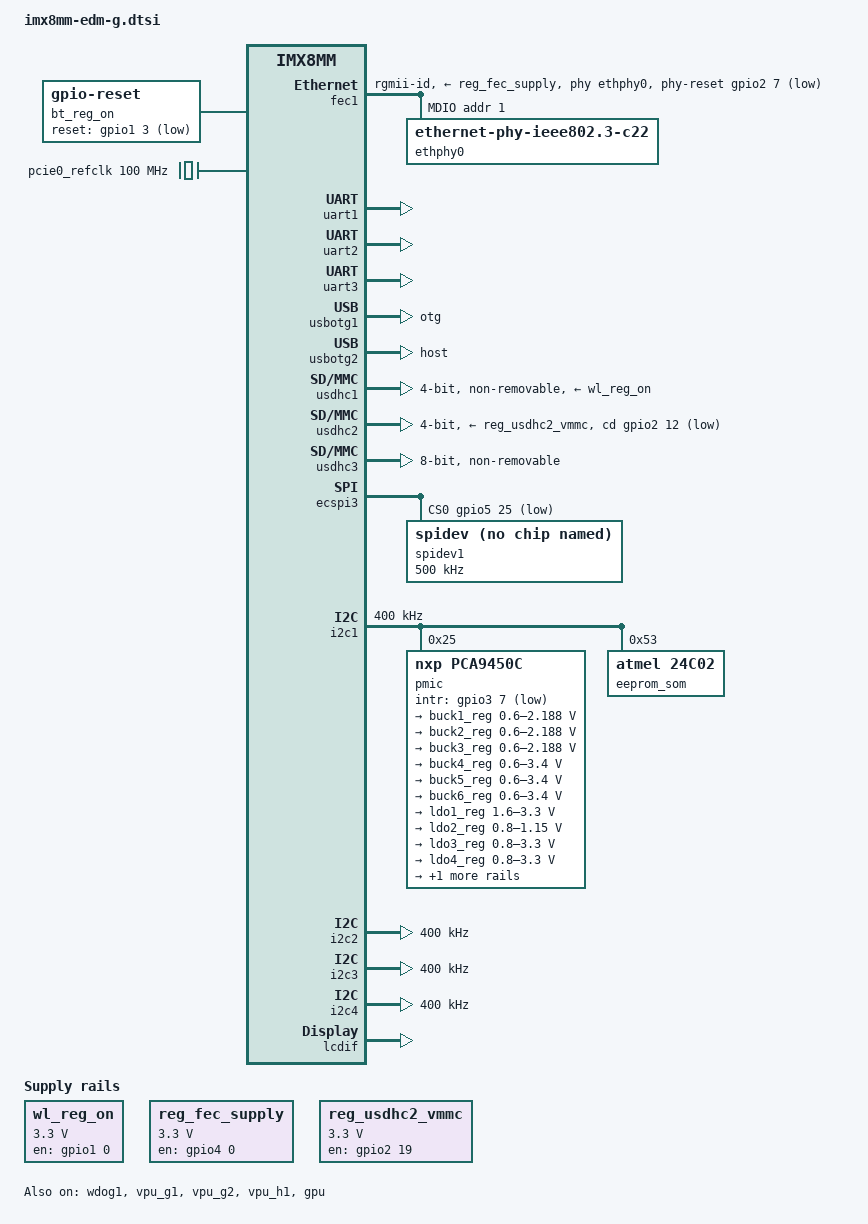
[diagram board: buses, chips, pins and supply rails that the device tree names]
// SPDX-License-Identifier: (GPL-2.0+ OR MIT)
/*
 * Copyright 2020 Technexion Ltd.
 *
 * Author: Richard Hu <richard.hu@technexion.com>
 *
 */

/dts-v1/;

#include <dt-bindings/usb/pd.h>
#include "imx8mm.dtsi"

/ {
	chosen {
		stdout-path = &uart2;
	};

	bt_reg_on: btreg_on {
		compatible = "gpio-reset";
		pinctrl-names = "default";
		pinctrl-0 = <&pinctrl_bt_ctrl>;
		reset-gpios = <&gpio1 3 GPIO_ACTIVE_LOW>;
		reset-delay-us = <2000>;
		reset-post-delay-ms = <40>;
		#reset-cells = <0>;
	};

	pcie0_refclk: pcie0-refclk {
		compatible = "fixed-clock";
		#clock-cells = <0>;
		clock-frequency = <100000000>;
	};

	regulators {
		compatible = "simple-bus";
		#address-cells = <1>;
		#size-cells = <0>;

		wl_reg_on: wlreg_on {
			compatible = "regulator-fixed";
			pinctrl-names = "default";
			pinctrl-0 = <&pinctrl_wifi_ctrl>;
			regulator-name = "WL_REG_ON";
			regulator-min-microvolt = <3300000>;
			regulator-max-microvolt = <3300000>;
			gpio = <&gpio1 0 GPIO_ACTIVE_HIGH>;
			off-on-delay = <20000>;
			startup-delay-us = <100>;
			enable-active-high;
		};

		reg_fec_supply: regulator_fecpwr {
			compatible = "regulator-fixed";
			pinctrl-names = "default";
			pinctrl-0 = <&pinctrl_fec_pwr_en>;
			regulator-name = "ENET_PWR_EN";
			regulator-min-microvolt = <3300000>;
			regulator-max-microvolt = <3300000>;
			gpio = <&gpio4 0 GPIO_ACTIVE_HIGH>;
			startup-delay-us = <10000>;
			enable-active-high;
		};

		reg_usdhc2_vmmc: regulator-usdhc2 {
			pinctrl-names = "default";
			pinctrl-0 = <&pinctrl_usdhc2_gpio>;
			compatible = "regulator-fixed";
			regulator-name = "SD_3V3";
			regulator-min-microvolt = <3300000>;
			regulator-max-microvolt = <3300000>;
			gpio = <&gpio2 19 GPIO_ACTIVE_HIGH>;
			off-on-delay = <20000>;
			enable-active-high;
		};
	};
};


&A53_0 {
	cpu-supply = <&buck2_reg>;
};

&fec1 {
	pinctrl-names = "default";
	pinctrl-0 = <&pinctrl_fec1>;
	phy-mode = "rgmii-id";
	phy-handle = <&ethphy0>;
	phy-reset-gpios = <&gpio2 7 GPIO_ACTIVE_LOW>;
	phy-supply = <&reg_fec_supply>;
	fsl,magic-packet;
	status = "okay";

	mdio {
		#address-cells = <1>;
		#size-cells = <0>;

		ethphy0: ethernet-phy@0 {
			compatible = "ethernet-phy-ieee802.3-c22";
			reg = <1>;
			at803x,led-act-blind-workaround;
			at803x,eee-disabled;
			rtl821x,aldps-disable;
			rtl821x,clkout-disable;
		};
	};
};

&pcie0{
	clocks = <&clk IMX8MM_CLK_PCIE1_ROOT>,
		 <&clk IMX8MM_CLK_PCIE1_AUX>,
		 <&clk IMX8MM_CLK_PCIE1_PHY>,
		 <&pcie0_refclk>;
	clock-names = "pcie", "pcie_aux", "pcie_phy", "pcie_bus";
	ext_osc = <0>;
	status = "disabled";
};

&sai2 { /* AUD_A */
	#sound-dai-cells = <0>;
	pinctrl-names = "default";
	pinctrl-0 = <&pinctrl_sai2>;
	assigned-clocks = <&clk IMX8MM_AUDIO_PLL1>, <&clk IMX8MM_AUDIO_PLL2>, <&clk IMX8MM_CLK_SAI1>;
    assigned-clock-parents = <0>, <0>, <&clk IMX8MM_AUDIO_PLL1_OUT>;
    assigned-clock-rates = <786432000>, <722534400>, <12288000>;
	status = "disabled";
};

&sai5 { /* AUD_B */
	#sound-dai-cells = <0>;
	pinctrl-names = "default";
	pinctrl-0 = <&pinctrl_sai5>;
	assigned-clocks = <&clk IMX8MM_AUDIO_PLL1>, <&clk IMX8MM_AUDIO_PLL2>, <&clk IMX8MM_CLK_SAI1>;
	assigned-clock-parents = <0>, <0>, <&clk IMX8MM_AUDIO_PLL1_OUT>;
	assigned-clock-rates = <786432000>, <722534400>, <12288000>;
	status = "disabled";
};

&sai1 {
	pinctrl-names = "default", "dsd";
	pinctrl-0 = <&pinctrl_sai1>;
	assigned-clocks = <&clk IMX8MM_CLK_SAI1>;
	assigned-clock-parents = <&clk IMX8MM_AUDIO_PLL1_OUT>;
	assigned-clock-rates = <49152000>;
	clocks = <&clk IMX8MM_CLK_SAI1_IPG>, <&clk IMX8MM_CLK_DUMMY>,
		<&clk IMX8MM_CLK_SAI1_ROOT>, <&clk IMX8MM_CLK_DUMMY>,
		<&clk IMX8MM_CLK_DUMMY>, <&clk IMX8MM_AUDIO_PLL1_OUT>,
		<&clk IMX8MM_AUDIO_PLL2_OUT>;
	clock-names = "bus", "mclk0", "mclk1", "mclk2", "mclk3", "pll8k", "pll11k";
	status = "disabled";
};

&uart1 { /* baseboard, UART_C */
	pinctrl-names = "default";
	pinctrl-0 = <&pinctrl_uart1>;
	assigned-clocks = <&clk IMX8MM_CLK_UART1>;
	assigned-clock-parents = <&clk IMX8MM_SYS_PLL1_80M>;
	fsl,uart-has-rtscts;
	status = "okay";
};

&uart2 { /* A53 console, UART_A */
	pinctrl-names = "default";
	pinctrl-0 = <&pinctrl_uart2>;
	assigned-clocks = <&clk IMX8MM_CLK_UART2>;
	assigned-clock-parents = <&clk IMX8MM_SYS_PLL1_80M>;
	fsl,uart-has-rtscts;
	status = "okay";
};

&uart3 { /* bluetooth */
	pinctrl-names = "default";
	pinctrl-0 = <&pinctrl_uart3>;
	assigned-clocks = <&clk IMX8MM_CLK_UART3>;
	assigned-clock-parents = <&clk IMX8MM_SYS_PLL1_80M>;
	fsl,uart-has-rtscts;
	resets = <&bt_reg_on>;
	status = "okay";
};

&uart4 { /* M4 console, UART_B */
	/* used in FreeRTOS, disabled in Linux */
	pinctrl-names = "default";
	pinctrl-0 = <&pinctrl_uart4>;
	assigned-clocks = <&clk IMX8MM_CLK_UART4>;
	assigned-clock-parents = <&clk IMX8MM_SYS_PLL1_80M>;
	fsl,uart-has-rtscts;
	status = "disabled";
};

&usbotg1 {
	dr_mode = "otg";
	hnp-disable;
	srp-disable;
	adp-disable;
	picophy,pre-emp-curr-control = <3>;
	picophy,dc-vol-level-adjust = <7>;
	status = "okay";
};

&usbotg2 {
	dr_mode = "host";
	picophy,pre-emp-curr-control = <3>;
	picophy,dc-vol-level-adjust = <7>;
	status = "okay";
};

/* WIFI SDIO */
&usdhc1 {
	pinctrl-names = "default", "state_100mhz", "state_200mhz";
	pinctrl-0 = <&pinctrl_usdhc1>;
	pinctrl-1 = <&pinctrl_usdhc1_100mhz>;
	pinctrl-2 = <&pinctrl_usdhc1_200mhz>;
	bus-width = <4>;
	max-frequency = <133333333>;
	vmmc-supply = <&wl_reg_on>;
	pm-ignore-notify;
	keep-power-in-suspend;
	non-removable;
	status = "okay";
};

/* SD card on baseboard */
&usdhc2 {
	pinctrl-names = "default", "state_100mhz", "state_200mhz";
	pinctrl-0 = <&pinctrl_usdhc2>;
	pinctrl-1 = <&pinctrl_usdhc2_100mhz>;
	pinctrl-2 = <&pinctrl_usdhc2_200mhz>;
	cd-gpios = <&gpio2 12 GPIO_ACTIVE_LOW>;
	vmmc-supply = <&reg_usdhc2_vmmc>;
	bus-width = <4>;
	status = "okay";
};

/* eMMC on SOM */
&usdhc3 {
	pinctrl-names = "default", "state_100mhz", "state_200mhz";
	pinctrl-0 = <&pinctrl_usdhc3>;
	pinctrl-1 = <&pinctrl_usdhc3_100mhz>;
	pinctrl-2 = <&pinctrl_usdhc3_200mhz>;
	bus-width = <8>;
	non-removable;
	status = "okay";
};

&wdog1 {
	pinctrl-names = "default";
	pinctrl-0 = <&pinctrl_wdog>;
	fsl,ext-reset-output;
	status = "okay";
};

&ecspi3 {
	num-cs = <1>;
	pinctrl-names = "default";
	pinctrl-0 = <&pinctrl_ecspi3 &pinctrl_ecspi3_cs>;
	cs-gpios = <&gpio5 25 GPIO_ACTIVE_LOW>;
	status = "okay";

	spidev1: spi@0 {
		reg = <0>;
		compatible = "rohm,dh2228fv";
		spi-max-frequency = <500000>;
	};
};

&i2c1 { /* BRD_CONF I2C */
	clock-frequency = <400000>;
	pinctrl-names = "default";
	pinctrl-0 = <&pinctrl_i2c1>;
	status = "okay";

	pmic: pca9450@25 {
		reg = <0x25>;
		compatible = "nxp,pca9450c";
		/* PMIC PCA9450 PMIC_nINT */
		pinctrl-0 = <&pinctrl_pmic>;
		gpio_intr = <&gpio3 7 GPIO_ACTIVE_LOW>;

		regulators {
			#address-cells = <1>;
			#size-cells = <0>;

			pca9450,pmic-buck1-uses-i2c-dvs;
			/* Run/Standby voltage */
			pca9450,pmic-buck1-dvs-voltage = <850000>, <800000>;

			buck1_reg: regulator@0 {
				reg = <0>;
				regulator-compatible = "buck1";
				regulator-min-microvolt = <600000>;
				regulator-max-microvolt = <2187500>;
				regulator-boot-on;
				regulator-always-on;
				regulator-ramp-delay = <3125>;
			};

			buck2_reg: regulator@1 {
				reg = <1>;
				regulator-compatible = "buck2";
				regulator-min-microvolt = <600000>;
				regulator-max-microvolt = <2187500>;
				regulator-boot-on;
				regulator-always-on;
				regulator-ramp-delay = <3125>;
			};

			buck3_reg: regulator@2 {
				reg = <2>;
				regulator-compatible = "buck3";
				regulator-min-microvolt = <600000>;
				regulator-max-microvolt = <2187500>;
				regulator-boot-on;
				regulator-always-on;
			};

			buck4_reg: regulator@3 {
				reg = <3>;
				regulator-compatible = "buck4";
				regulator-min-microvolt = <600000>;
				regulator-max-microvolt = <3400000>;
				regulator-boot-on;
				regulator-always-on;
			};

			buck5_reg: regulator@4 {
				reg = <4>;
				regulator-compatible = "buck5";
				regulator-min-microvolt = <600000>;
				regulator-max-microvolt = <3400000>;
				regulator-boot-on;
				regulator-always-on;
			};

			buck6_reg: regulator@5 {
				reg = <5>;
				regulator-compatible = "buck6";
				regulator-min-microvolt = <600000>;
				regulator-max-microvolt = <3400000>;
				regulator-boot-on;
				regulator-always-on;
			};

			ldo1_reg: regulator@6 {
				reg = <6>;
				regulator-compatible = "ldo1";
				regulator-min-microvolt = <1600000>;
				regulator-max-microvolt = <3300000>;
				regulator-boot-on;
				regulator-always-on;
			};

			ldo2_reg: regulator@7 {
				reg = <7>;
				regulator-compatible = "ldo2";
				regulator-min-microvolt = <800000>;
				regulator-max-microvolt = <1150000>;
				regulator-boot-on;
				regulator-always-on;
			};

			ldo3_reg: regulator@8 {
				reg = <8>;
				regulator-compatible = "ldo3";
				regulator-min-microvolt = <800000>;
				regulator-max-microvolt = <3300000>;
				regulator-boot-on;
				regulator-always-on;
			};

			ldo4_reg: regulator@9 {
				reg = <9>;
				regulator-compatible = "ldo4";
				regulator-min-microvolt = <800000>;
				regulator-max-microvolt = <3300000>;
				regulator-boot-on;
				regulator-always-on;
			};

			ldo5_reg: regulator@10 {
				reg = <10>;
				regulator-compatible = "ldo5";
				regulator-min-microvolt = <1800000>;
				regulator-max-microvolt = <3300000>;
			};
		};
	};

	dsi_lvds_bridge: sn65dsi84@2d {
		reg = <0x2d>;
		compatible = "ti,sn65dsi84";
		#gpio-cells = <2>;
		pinctrl-0 = <&pinctrl_mipi_dsi_en>;
		enable-gpios = <&gpio3 9 GPIO_ACTIVE_HIGH>;
		status = "disabled";
	};

	eeprom_som: eeprom@53 {
		compatible = "atmel,24c02";
		reg = <0x53>;
		pagesize = <16>;
		status = "okay";
	};
};

&i2c2 { /* I2C_B */
	clock-frequency = <400000>;
	pinctrl-names = "default";
	pinctrl-0 = <&pinctrl_i2c2>;
	status = "okay";
};

&i2c3 { /* I2C_C */
	clock-frequency = <400000>;
	pinctrl-names = "default";
	pinctrl-0 = <&pinctrl_i2c3>;
	status = "okay";
};

&i2c4 { /* I2C_A */
	clock-frequency = <400000>;
	pinctrl-names = "default";
	pinctrl-0 = <&pinctrl_i2c4>;
	status = "okay";
};

&iomuxc {
	pinctrl-names = "default";

	pinctrl_fec_pwr_en: fec_pwr_en_irqgrp {
		fsl,pins = <
			MX8MM_IOMUXC_SAI1_RXFS_GPIO4_IO0	0x19
		>;
	};

	pinctrl_fec1: fec1grp {
		fsl,pins = <
			MX8MM_IOMUXC_ENET_MDC_ENET1_MDC			0x3
			MX8MM_IOMUXC_ENET_MDIO_ENET1_MDIO		0x3
			MX8MM_IOMUXC_ENET_TD3_ENET1_RGMII_TD3		0x1f
			MX8MM_IOMUXC_ENET_TD2_ENET1_RGMII_TD2		0x1f
			MX8MM_IOMUXC_ENET_TD1_ENET1_RGMII_TD1		0x1f
			MX8MM_IOMUXC_ENET_TD0_ENET1_RGMII_TD0		0x1f
			MX8MM_IOMUXC_ENET_RD3_ENET1_RGMII_RD3		0x91
			MX8MM_IOMUXC_ENET_RD2_ENET1_RGMII_RD2		0x91
			MX8MM_IOMUXC_ENET_RD1_ENET1_RGMII_RD1		0x91
			MX8MM_IOMUXC_ENET_RD0_ENET1_RGMII_RD0		0x91
			MX8MM_IOMUXC_ENET_TXC_ENET1_RGMII_TXC		0x1f
			MX8MM_IOMUXC_ENET_RXC_ENET1_RGMII_RXC		0x91
			MX8MM_IOMUXC_ENET_RX_CTL_ENET1_RGMII_RX_CTL	0x91
			MX8MM_IOMUXC_ENET_TX_CTL_ENET1_RGMII_TX_CTL	0x1f
			MX8MM_IOMUXC_SD1_DATA5_GPIO2_IO7	0x36	/* ENET_nRST */
		>;
	};

	pinctrl_i2c1: i2c1grp {
		fsl,pins = <
			MX8MM_IOMUXC_I2C1_SCL_I2C1_SCL			0x400001c3
			MX8MM_IOMUXC_I2C1_SDA_I2C1_SDA			0x400001c3
		>;
	};

	pinctrl_i2c2: i2c2grp {
		fsl,pins = <
			MX8MM_IOMUXC_I2C2_SCL_I2C2_SCL			0x400001c3
			MX8MM_IOMUXC_I2C2_SDA_I2C2_SDA			0x400001c3
		>;
	};

	pinctrl_i2c3: i2c3grp {
		fsl,pins = <
			MX8MM_IOMUXC_I2C3_SCL_I2C3_SCL			0x400001c3
			MX8MM_IOMUXC_I2C3_SDA_I2C3_SDA			0x400001c3
		>;
	};

	pinctrl_i2c4: i2c4grp {
		fsl,pins = <
			MX8MM_IOMUXC_I2C4_SCL_I2C4_SCL			0x400001c3
			MX8MM_IOMUXC_I2C4_SDA_I2C4_SDA			0x400001c3
		>;
	};

	pinctrl_pmic: pmicirq {
		fsl,pins = <
			MX8MM_IOMUXC_NAND_DATA01_GPIO3_IO7		0x41
		>;
	};

	pinctrl_sai2: sai2grp {
		fsl,pins = <
			MX8MM_IOMUXC_SAI2_TXFS_SAI2_TX_SYNC	0xd6
			MX8MM_IOMUXC_SAI2_TXC_SAI2_TX_BCLK	0xd6
			MX8MM_IOMUXC_SAI2_MCLK_SAI2_MCLK	0xd6
			MX8MM_IOMUXC_SAI2_TXD0_SAI2_TX_DATA0	0xd6
			MX8MM_IOMUXC_SAI2_RXD0_SAI2_RX_DATA0	0xd6
		>;
	};

	/* Bluetooth audio */
	pinctrl_sai1: sai1grp {
		fsl,pins = <
			MX8MM_IOMUXC_SAI1_TXFS_SAI1_TX_SYNC	0xd6
			MX8MM_IOMUXC_SAI1_TXC_SAI1_TX_BCLK	0xd6
			MX8MM_IOMUXC_SAI1_TXD0_SAI1_TX_DATA0	0xd6
			MX8MM_IOMUXC_SAI1_RXD0_SAI5_RX_DATA0    0xd6
		>;
	};

	pinctrl_sai5: sai5grp {
		fsl,pins = <
			MX8MM_IOMUXC_SAI5_RXD1_SAI5_TX_SYNC     0xd6
			MX8MM_IOMUXC_SAI5_RXD2_SAI5_TX_BCLK     0xd6
			MX8MM_IOMUXC_SAI5_RXD3_SAI5_TX_DATA0    0xd6
			MX8MM_IOMUXC_SAI5_RXD0_SAI5_RX_DATA0    0xd6
		>;
	};

	pinctrl_uart1: uart1grp {
		fsl,pins = <
			MX8MM_IOMUXC_SAI2_RXC_UART1_DCE_RX	0x140
			MX8MM_IOMUXC_SAI2_RXFS_UART1_DCE_TX	0x140
			MX8MM_IOMUXC_UART3_RXD_UART1_DCE_CTS_B	0x140
			MX8MM_IOMUXC_UART3_TXD_UART1_DCE_RTS_B	0x140
		>;
	};

	pinctrl_uart2: uart2grp {
		fsl,pins = <
			MX8MM_IOMUXC_SAI3_TXFS_UART2_DCE_RX	0x140
			MX8MM_IOMUXC_SAI3_TXC_UART2_DCE_TX	0x140
			MX8MM_IOMUXC_SAI3_RXC_UART2_DCE_CTS_B 0x140
			MX8MM_IOMUXC_SAI3_RXD_UART2_DCE_RTS_B 0x140
		>;
	};

	pinctrl_uart3: uart3grp {
		fsl,pins = <
			MX8MM_IOMUXC_ECSPI1_SCLK_UART3_DCE_RX		0x140
			MX8MM_IOMUXC_ECSPI1_MOSI_UART3_DCE_TX		0x140
			MX8MM_IOMUXC_ECSPI1_SS0_UART3_DCE_RTS_B		0x140
			MX8MM_IOMUXC_ECSPI1_MISO_UART3_DCE_CTS_B	0x140
		>;
	};

	pinctrl_uart4: uart4grp {
		fsl,pins = <
			MX8MM_IOMUXC_ECSPI2_SCLK_UART4_DCE_RX		0x140
			MX8MM_IOMUXC_ECSPI2_MOSI_UART4_DCE_TX		0x140
			MX8MM_IOMUXC_ECSPI2_MISO_UART4_DCE_CTS_B	0x140
			MX8MM_IOMUXC_ECSPI2_SS0_UART4_DCE_RTS_B		0x140
		>;
	};

	pinctrl_usdhc1: usdhc1grp {
		fsl,pins = <
			MX8MM_IOMUXC_SD1_CLK_USDHC1_CLK		0x190
			MX8MM_IOMUXC_SD1_CMD_USDHC1_CMD		0x1d0
			MX8MM_IOMUXC_SD1_DATA0_USDHC1_DATA0	0x1d0
			MX8MM_IOMUXC_SD1_DATA1_USDHC1_DATA1	0x1d0
			MX8MM_IOMUXC_SD1_DATA2_USDHC1_DATA2	0x1d0
			MX8MM_IOMUXC_SD1_DATA3_USDHC1_DATA3	0x1d0
		>;
	};

	pinctrl_usdhc1_100mhz: usdhc1grp100mhz {
		fsl,pins = <
			MX8MM_IOMUXC_SD1_CLK_USDHC1_CLK		0x194
			MX8MM_IOMUXC_SD1_CMD_USDHC1_CMD		0x1d4
			MX8MM_IOMUXC_SD1_DATA0_USDHC1_DATA0	0x1d4
			MX8MM_IOMUXC_SD1_DATA1_USDHC1_DATA1	0x1d4
			MX8MM_IOMUXC_SD1_DATA2_USDHC1_DATA2	0x1d4
			MX8MM_IOMUXC_SD1_DATA3_USDHC1_DATA3	0x1d4
		>;
	};

	pinctrl_usdhc1_200mhz: usdhc1grp200mhz {
		fsl,pins = <
			MX8MM_IOMUXC_SD1_CLK_USDHC1_CLK		0x196
			MX8MM_IOMUXC_SD1_CMD_USDHC1_CMD		0x1d6
			MX8MM_IOMUXC_SD1_DATA0_USDHC1_DATA0	0x1d6
			MX8MM_IOMUXC_SD1_DATA1_USDHC1_DATA1	0x1d6
			MX8MM_IOMUXC_SD1_DATA2_USDHC1_DATA2	0x1d6
			MX8MM_IOMUXC_SD1_DATA3_USDHC1_DATA3	0x1d6
		>;
	};

	pinctrl_usdhc2_gpio: usdhc2grpgpio {
		fsl,pins = <
			MX8MM_IOMUXC_SD2_RESET_B_GPIO2_IO19	0x41
		>;
	};

	pinctrl_usdhc2: usdhc2grp {
		fsl,pins = <
			MX8MM_IOMUXC_SD2_CLK_USDHC2_CLK		0x190
			MX8MM_IOMUXC_SD2_CMD_USDHC2_CMD		0x1d0
			MX8MM_IOMUXC_SD2_DATA0_USDHC2_DATA0	0x1d0
			MX8MM_IOMUXC_SD2_DATA1_USDHC2_DATA1	0x1d0
			MX8MM_IOMUXC_SD2_DATA2_USDHC2_DATA2	0x1d0
			MX8MM_IOMUXC_SD2_DATA3_USDHC2_DATA3	0x1d0
			MX8MM_IOMUXC_SD2_CD_B_GPIO2_IO12	0x1c4
			MX8MM_IOMUXC_GPIO1_IO04_USDHC2_VSELECT	0x1d0
		>;
	};

	pinctrl_usdhc2_100mhz: usdhc2grp100mhz {
		fsl,pins = <
			MX8MM_IOMUXC_SD2_CLK_USDHC2_CLK		0x194
			MX8MM_IOMUXC_SD2_CMD_USDHC2_CMD		0x1d4
			MX8MM_IOMUXC_SD2_DATA0_USDHC2_DATA0	0x1d4
			MX8MM_IOMUXC_SD2_DATA1_USDHC2_DATA1	0x1d4
			MX8MM_IOMUXC_SD2_DATA2_USDHC2_DATA2	0x1d4
			MX8MM_IOMUXC_SD2_DATA3_USDHC2_DATA3	0x1d4
			MX8MM_IOMUXC_SD2_CD_B_GPIO2_IO12	0x1c4
			MX8MM_IOMUXC_GPIO1_IO04_USDHC2_VSELECT	0x1d0
		>;
	};

	pinctrl_usdhc2_200mhz: usdhc2grp200mhz {
		fsl,pins = <
			MX8MM_IOMUXC_SD2_CLK_USDHC2_CLK		0x196
			MX8MM_IOMUXC_SD2_CMD_USDHC2_CMD		0x1d6
			MX8MM_IOMUXC_SD2_DATA0_USDHC2_DATA0	0x1d6
			MX8MM_IOMUXC_SD2_DATA1_USDHC2_DATA1	0x1d6
			MX8MM_IOMUXC_SD2_DATA2_USDHC2_DATA2	0x1d6
			MX8MM_IOMUXC_SD2_DATA3_USDHC2_DATA3	0x1d6
			MX8MM_IOMUXC_SD2_CD_B_GPIO2_IO12	0x1c4
			MX8MM_IOMUXC_GPIO1_IO04_USDHC2_VSELECT	0x1d0
		>;
	};

	pinctrl_usdhc3: usdhc3grp {
		fsl,pins = <
			MX8MM_IOMUXC_NAND_WE_B_USDHC3_CLK		0x190
			MX8MM_IOMUXC_NAND_WP_B_USDHC3_CMD		0x1d0
			MX8MM_IOMUXC_NAND_DATA04_USDHC3_DATA0		0x1d0
			MX8MM_IOMUXC_NAND_DATA05_USDHC3_DATA1		0x1d0
			MX8MM_IOMUXC_NAND_DATA06_USDHC3_DATA2		0x1d0
			MX8MM_IOMUXC_NAND_DATA07_USDHC3_DATA3		0x1d0
			MX8MM_IOMUXC_NAND_RE_B_USDHC3_DATA4		0x1d0
			MX8MM_IOMUXC_NAND_CE2_B_USDHC3_DATA5		0x1d0
			MX8MM_IOMUXC_NAND_CE3_B_USDHC3_DATA6		0x1d0
			MX8MM_IOMUXC_NAND_CLE_USDHC3_DATA7		0x1d0
			MX8MM_IOMUXC_NAND_CE1_B_USDHC3_STROBE 		0x190
		>;
	};

	pinctrl_usdhc3_100mhz: usdhc3grp100mhz {
		fsl,pins = <
			MX8MM_IOMUXC_NAND_WE_B_USDHC3_CLK		0x194
			MX8MM_IOMUXC_NAND_WP_B_USDHC3_CMD		0x1d4
			MX8MM_IOMUXC_NAND_DATA04_USDHC3_DATA0		0x1d4
			MX8MM_IOMUXC_NAND_DATA05_USDHC3_DATA1		0x1d4
			MX8MM_IOMUXC_NAND_DATA06_USDHC3_DATA2		0x1d4
			MX8MM_IOMUXC_NAND_DATA07_USDHC3_DATA3		0x1d4
			MX8MM_IOMUXC_NAND_RE_B_USDHC3_DATA4		0x1d4
			MX8MM_IOMUXC_NAND_CE2_B_USDHC3_DATA5		0x1d4
			MX8MM_IOMUXC_NAND_CE3_B_USDHC3_DATA6		0x1d4
			MX8MM_IOMUXC_NAND_CLE_USDHC3_DATA7		0x1d4
			MX8MM_IOMUXC_NAND_CE1_B_USDHC3_STROBE 		0x194
		>;
	};

	pinctrl_usdhc3_200mhz: usdhc3grp200mhz {
		fsl,pins = <
			MX8MM_IOMUXC_NAND_WE_B_USDHC3_CLK		0x196
			MX8MM_IOMUXC_NAND_WP_B_USDHC3_CMD		0x1d6
			MX8MM_IOMUXC_NAND_DATA04_USDHC3_DATA0		0x1d6
			MX8MM_IOMUXC_NAND_DATA05_USDHC3_DATA1		0x1d6
			MX8MM_IOMUXC_NAND_DATA06_USDHC3_DATA2		0x1d6
			MX8MM_IOMUXC_NAND_DATA07_USDHC3_DATA3		0x1d6
			MX8MM_IOMUXC_NAND_RE_B_USDHC3_DATA4		0x1d6
			MX8MM_IOMUXC_NAND_CE2_B_USDHC3_DATA5		0x1d6
			MX8MM_IOMUXC_NAND_CE3_B_USDHC3_DATA6		0x1d6
			MX8MM_IOMUXC_NAND_CLE_USDHC3_DATA7		0x1d6
			MX8MM_IOMUXC_NAND_CE1_B_USDHC3_STROBE 		0x196
		>;
	};

	pinctrl_wdog: wdoggrp {
		fsl,pins = <
			MX8MM_IOMUXC_GPIO1_IO02_WDOG1_WDOG_B	0xc6
		>;
	};

	pinctrl_wifi_ctrl: wifi_ctrlgrp {
		fsl,pins = <
			MX8MM_IOMUXC_GPIO1_IO00_GPIO1_IO0	0x41 /* WL_REG_ON */
		>;
	};

	pinctrl_bt_ctrl: bt_ctrlgrp {
		fsl,pins = <
			MX8MM_IOMUXC_GPIO1_IO03_GPIO1_IO3	0x41 /* BT_REG_ON */
		>;
	};

	pinctrl_ecspi3: ecspi3grp {
		fsl,pins = <
			MX8MM_IOMUXC_UART1_RXD_ECSPI3_SCLK		0x82
			MX8MM_IOMUXC_UART1_TXD_ECSPI3_MOSI		0x82
			MX8MM_IOMUXC_UART2_RXD_ECSPI3_MISO		0x82
		>;
	};

	pinctrl_ecspi3_cs: ecspi3cs {
		fsl,pins = <
			MX8MM_IOMUXC_UART2_TXD_GPIO5_IO25		0x40000
		>;
	};

	pinctrl_mipi_dsi_en: mipi_dsi_en {
		fsl,pins = <
		        MX8MM_IOMUXC_NAND_DATA03_GPIO3_IO9      0x16   /* enable pin of sn65dsi84 */
		>;
	};

	pinctrl_lvds0_backlight_pwm: lvds0_bl_pwmgrp {
		fsl,pins = <
			MX8MM_IOMUXC_SPDIF_RX_PWM2_OUT		0x16
		>;
	};

	pinctrl_dsi_backlight_pwm: dsi_bl_pwmgrp {
		fsl,pins = <
			MX8MM_IOMUXC_SPDIF_EXT_CLK_PWM1_OUT		0x16
		>;
	};

	pinctrl_lvds1_backlight_pwm: lvds1_bl_pwmgrp {
		fsl,pins = <
			MX8MM_IOMUXC_SPDIF_TX_PWM3_OUT		0x16
		>;
	};

	pinctrl_pwm4: pwm4grp {
		fsl,pins = <
			MX8MM_IOMUXC_SAI3_MCLK_PWM4_OUT		0x16
		>;
	};
};

&pwm1 { /* DSI_BL_PWM */
	pinctrl-names = "default";
	pinctrl-0 = <&pinctrl_dsi_backlight_pwm>;
	status = "disabled";
};

&pwm2 { /* LVDS0_BL_PWM */
	pinctrl-names = "default";
	pinctrl-0 = <&pinctrl_lvds0_backlight_pwm>;
	status = "disabled";
};

&pwm3 { /* LVDS1_BL_PWM */
	pinctrl-names = "default";
	pinctrl-0 = <&pinctrl_lvds1_backlight_pwm>;
	status = "disabled";
};

&pwm4 {	/* PWM4 */
	pinctrl-names = "default";
	pinctrl-0 = <&pinctrl_pwm4>;
	status = "disabled";
};

&lcdif {
	status = "okay";
};

&vpu_g1 {
	status = "okay";
};

&vpu_g2 {
	status = "okay";
};

&vpu_h1 {
	status = "okay";
};

&gpu {
	status = "okay";
};
